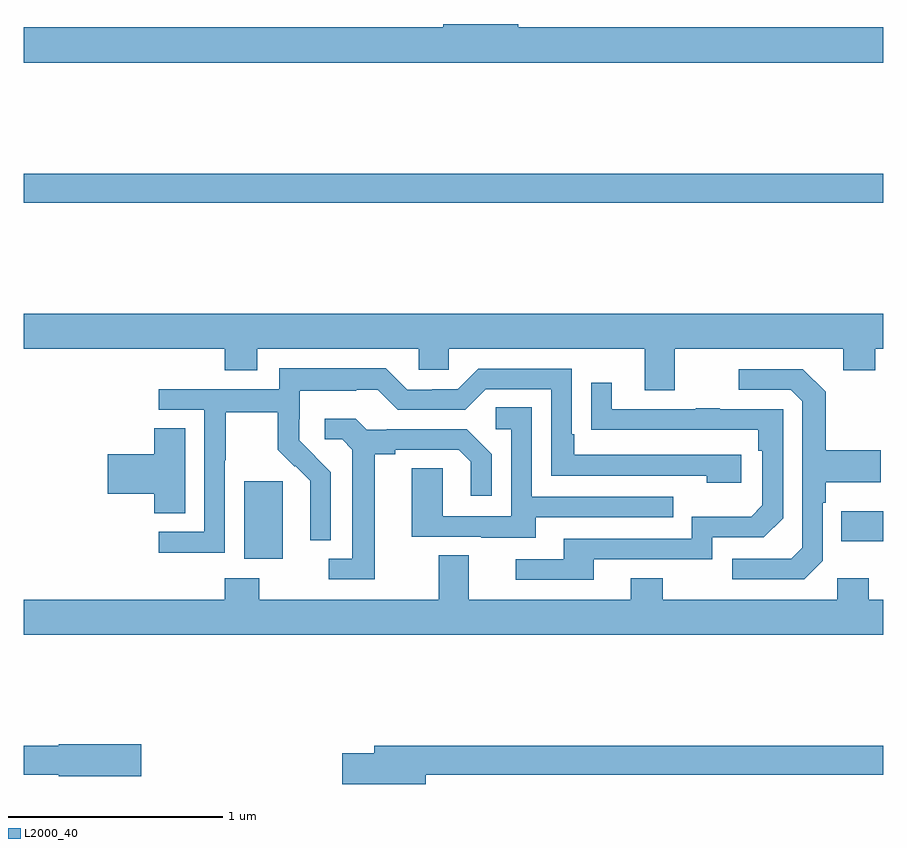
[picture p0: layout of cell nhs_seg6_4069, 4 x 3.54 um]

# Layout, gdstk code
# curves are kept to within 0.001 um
import gdstk
lib = gdstk.Library(unit=1e-6, precision=1e-09)
def R(c, l, rs):  # rectangles x0, y0, x1, y1
    for r in rs: c.add(gdstk.rectangle(r[:2], r[2:], *l))
def P(c, l, *ps):  # polygons
    for p in ps: c.add(gdstk.Polygon(p, *l))
L2000_40 = (2000, 40)

nhs_seg6_4069 = lib.new_cell('nhs_seg6_4069')
R(nhs_seg6_4069, L2000_40, [(352.025,961.01,352.204,961.371), (354.805,961.091,355,961.231), (351,962.668,355,962.804)])
P(nhs_seg6_4069, L2000_40, [(355,963.484),(353.302,963.484),(353.302,963.5),(352.952,963.5),(352.952,963.484),(351,963.484),(351,963.32),(355,963.32)],
  [(351,961.988),(351.935,961.988),(351.935,961.889),(352.087,961.889),(352.087,961.988),(352.839,961.988),(352.839,961.89),(352.977,961.89),(352.977,961.988),(353.891,961.988),(353.891,961.794),(354.031,961.794),(354.031,961.988),(354.815,961.988),(354.815,961.889),(354.963,961.889),(354.963,961.988),(355,961.988),(355,962.152),(351,962.152)],
  [(351.936,961.468),(351.939,961.468),(351.939,961.692),(352.183,961.692),(352.183,961.517),(352.26,961.44),(352.263,961.443),(352.334,961.373),(352.334,961.25),(352.332,961.25),(352.332,961.096),(352.428,961.096),(352.428,961.414),(352.282,961.562),(352.282,961.659),(352.284,961.659),(352.284,961.793),(352.547,961.793),(352.547,961.797),(352.647,961.797),(352.74,961.704),(353.055,961.704),(353.151,961.8),(353.454,961.8),(353.454,961.398),(354.179,961.398),(354.179,961.364),(354.34,961.364),(354.34,961.494),(353.563,961.494),(353.563,961.591),(353.55,961.591),(353.55,961.896),(353.115,961.896),(353.019,961.8),(352.901,961.8),(352.901,961.797),(352.785,961.797),(352.685,961.897),(352.188,961.897),(352.188,961.8),(351.627,961.8),(351.627,961.704),(351.84,961.704),(351.84,961.137),(351.627,961.137),(351.627,961.039),(351.936,961.039)],
  [(354.72,961.002),(354.72,961.271),(354.733,961.271),(354.733,961.367),(354.989,961.367),(354.989,961.515),(354.733,961.515),(354.733,961.787),(354.627,961.893),(354.327,961.893),(354.327,961.797),(354.57,961.797),(354.624,961.743),(354.624,961.062),(354.573,961.011),(354.297,961.011),(354.297,960.915),(354.633,960.915)],
  [(353.653,961.008),(354.204,961.008),(354.204,961.11),(354.444,961.11),(354.534,961.2),(354.534,961.707),(354.239,961.707),(354.239,961.712),(354.127,961.712),(354.127,961.707),(353.737,961.707),(353.737,961.831),(353.641,961.831),(353.641,961.612),(354.418,961.611),(354.418,961.514),(354.438,961.514),(354.438,961.26),(354.385,961.207),(354.108,961.207),(354.108,961.104),(353.513,961.104),(353.513,961.008),(353.289,961.008),(353.289,960.912),(353.653,960.912)],
  [(353.383,961.203),(354.023,961.203),(354.023,961.299),(353.364,961.299),(353.364,961.715),(353.196,961.715),(353.196,961.614),(353.268,961.614),(353.268,961.209),(352.95,961.209),(352.95,961.433),(352.805,961.433),(352.805,961.113),(353.129,961.113),(353.129,961.109),(353.383,961.109)],
  [(352.633,961.496),(352.729,961.496),(352.729,961.518),(353.024,961.518),(353.081,961.461),(353.081,961.305),(353.178,961.305),(353.178,961.498),(353.062,961.614),(352.69,961.614),(352.69,961.611),(352.596,961.611),(352.544,961.663),(352.401,961.663),(352.401,961.566),(352.482,961.566),(352.529,961.519),(352.529,961.011),(352.419,961.011),(352.419,960.915),(352.633,960.915)],
  [(351.751,961.619),(351.608,961.619),(351.608,961.496),(351.39,961.496),(351.39,961.313),(351.608,961.313),(351.608,961.222),(351.751,961.222)],
  [(355,960.82),(354.933,960.82),(354.933,960.919),(354.786,960.919),(354.786,960.82),(353.973,960.82),(353.973,960.919),(353.825,960.919),(353.825,960.82),(353.071,960.82),(353.071,961.028),(352.931,961.028),(352.931,960.82),(352.095,960.82),(352.095,960.919),(351.935,960.919),(351.935,960.82),(351,960.82),(351,960.656),(355,960.656)],
  [(351.547,960.146),(351.162,960.146),(351.162,960.14),(351,960.14),(351,960.004),(351.162,960.004),(351.162,959.999),(351.547,959.999)],
  [(352.87,960.004),(355,960.004),(355,960.14),(352.631,960.14),(352.631,960.104),(352.482,960.104),(352.482,959.962),(352.87,959.962)])

lib.write_gds('nhs_seg6_4069.gds')
